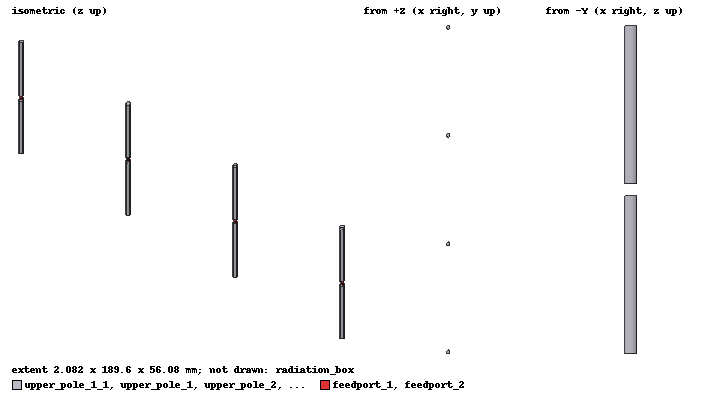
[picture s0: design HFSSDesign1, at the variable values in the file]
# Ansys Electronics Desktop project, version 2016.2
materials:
  vacuum: permittivity=1
  pec: conductivity=1e+030

design HFSSDesign1 (HFSS, DrivenModal, model units mm)
options: Calculate_Lossy_Dielectrics
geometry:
  upper_pole [pec] = cylinder(axis=Z, base_centre=(0mm, 0mm, 1.041mm), radius=1.041mm, height=27mm)
  feedport = rectangle(corner=(0mm, -1.041mm, -1.041mm), y_size=2.082mm, z_size=2.082mm)
  upper_pole_1 [pec] = upper_pole.duplicate_around_axis(axis=Y, angle=-180deg, total=2)
  upper_pole_2, upper_pole_3, upper_pole_4 [pec] = upper_pole.duplicate_along_line(step=(0mm, 62.5mm, 0mm), total=4)
  upper_pole_1_1, upper_pole_1_2, upper_pole_1_3 [pec] = upper_pole_1.duplicate_along_line(step=(0mm, 62.5mm, 0mm), total=4)
  feedport_1, feedport_2, feedport_3 = feedport.duplicate_along_line(step=(0mm, 62.5mm, 0mm), total=4)
  radiation_box [vacuum] = box(corner=(-20mm, -40mm, -50mm), size=(40mm, 300mm, 100mm))
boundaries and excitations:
  Rad1: Radiation Objects=radiation_box
  1: Lumped Port Objects=feedport Modes{Mode1{IntLine{middle of feedport.edge(z at corner) -> middle of feedport.edge(z opposite corner)} CharImp=Zpi RenormImp=73ohm}} FullResistance=50ohm FullReactance=0ohm
  3: Lumped Port Objects=feedport_2 Modes{Mode1{IntLine{middle of feedport_2.edge(1 of 4) -> middle of feedport_2.edge(3 of 4)} CharImp=Zpi}} FullResistance=73ohm FullReactance=0ohm
  4: Lumped Port Objects=feedport_3 Modes{Mode1{IntLine{middle of feedport_3.edge(1 of 4) -> middle of feedport_3.edge(3 of 4)} CharImp=Zpi}} FullResistance=73ohm FullReactance=0ohm
  5: Lumped Port Objects=feedport_1 Modes{Mode1{IntLine{middle of feedport_1.edge(1 of 4) -> middle of feedport_1.edge(3 of 4)} CharImp=Zpi}} FullResistance=73ohm FullReactance=0ohm
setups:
  Setup1: HfssDriven Frequency=2.4GHz MaxDeltaS=0.02 MaximumPasses=20 MinimumPasses=1 MinimumConvergedPasses=1 PercentRefinement=30 BasisOrder=1 PortAccuracy=2
    sweep Sweep: 1GHz to 4GHz, 120 points; Type=Fast SaveFields
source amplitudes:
  1:1: 1 0deg
  3:1, 4:1, 5:1: 0W 0deg
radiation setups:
  Infinite Sphere1: Infinite Sphere Theta=-180deg..180deg step 10deg Phi=0deg..360deg step 10deg
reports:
  XY Plot 1: dB(S(1,1)) vs Freq on Setup1 : Sweep; markers m1 at 2.4GHz
  XY Plot 2: dB(VSWR(1)) vs Freq on Setup1 : Sweep
  Smith Chart 1: S(1,1) on Setup1 : Sweep [Freq=all]
  3D Polar Plot 1: dB(GainTotal) vs Phi, Theta on Setup1 : LastAdaptive, Infinite Sphere1 [Freq=2.4GHz]
  3D Polar Plot 2: dB(DirTotal) vs Phi, Theta on Setup1 : LastAdaptive, Infinite Sphere1 [Freq=2.4GHz]
  Radiation Pattern 1: dB(GainTotal) vs Theta on Setup1 : LastAdaptive, Infinite Sphere1 [Phi=all Freq=2.4GHz]
